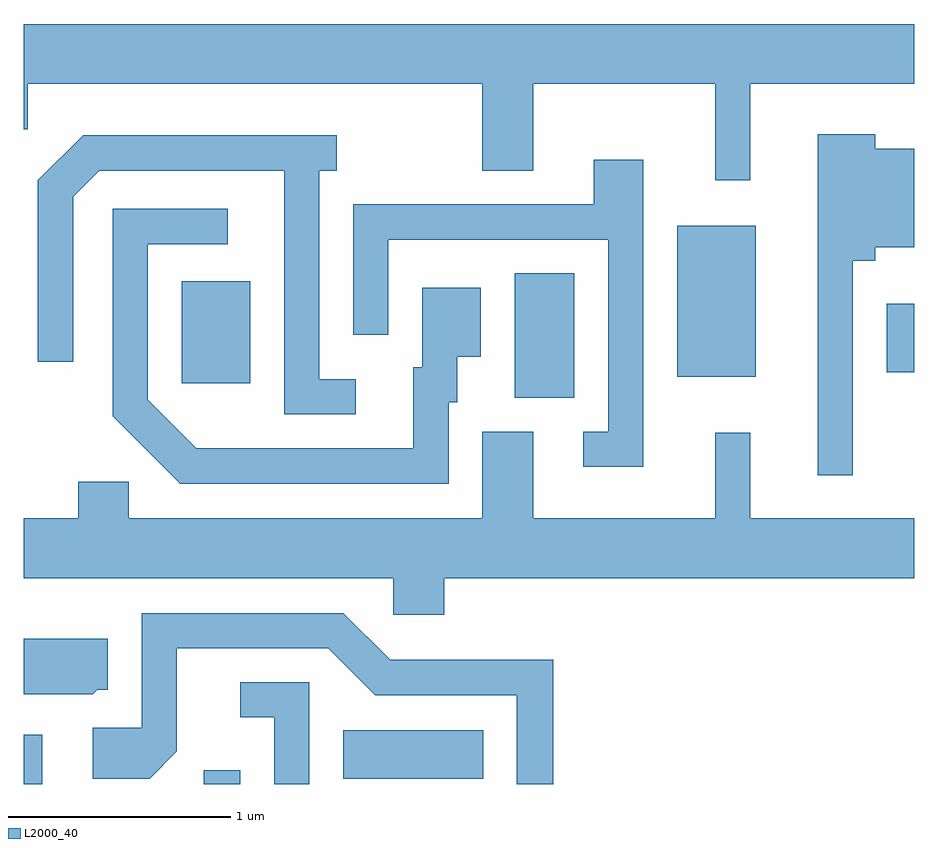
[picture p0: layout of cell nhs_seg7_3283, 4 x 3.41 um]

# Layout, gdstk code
import gdstk
lib = gdstk.Library(unit=1e-6, precision=1e-09)
def R(c, l, rs):  # rectangles x0, y0, x1, y1
    for r in rs: c.add(gdstk.rectangle(r[:2], r[2:], *l))
def P(c, l, *ps):  # polygons
    for p in ps: c.add(gdstk.Polygon(p, *l))
L2000_40 = (2000, 40)

nhs_seg7_3283 = lib.new_cell('nhs_seg7_3283')
R(nhs_seg7_3283, L2000_40, [(285.611,1742.252,285.694,1742.473), (286.421,1742.252,286.584,1742.313), (287.046,1742.276,287.674,1742.494), (287.816,1743.986,288.084,1744.544), (286.321,1744.051,286.629,1744.509), (288.546,1744.081,288.899,1744.759), (289.486,1744.101,289.611,1744.409)])
P(nhs_seg7_3283, L2000_40, [(288.874,1745.396),(289.611,1745.396),(289.611,1745.664),(285.611,1745.664),(285.611,1745.191),(285.629,1745.191),(285.629,1745.396),(287.671,1745.396),(287.671,1745.006),(287.899,1745.006),(287.899,1745.396),(288.716,1745.396),(288.716,1744.963),(288.874,1744.963)],
  [(289.334,1744.601),(289.434,1744.601),(289.434,1744.661),(289.611,1744.661),(289.611,1745.104),(289.434,1745.104),(289.434,1745.169),(289.176,1745.169),(289.176,1743.638),(289.334,1743.638)],
  [(287.103,1744.069),(286.939,1744.069),(286.939,1745.006),(287.018,1745.006),(287.018,1745.164),(285.879,1745.164),(285.676,1744.962),(285.676,1744.148),(285.834,1744.148),(285.834,1744.889),(285.952,1745.006),(286.781,1745.006),(286.781,1743.911),(287.103,1743.911)],
  [(288.394,1745.054),(288.171,1745.054),(288.171,1744.854),(287.091,1744.854),(287.091,1744.268),(287.249,1744.268),(287.249,1744.696),(288.236,1744.696),(288.236,1743.834),(288.123,1743.834),(288.123,1743.676),(288.394,1743.676)],
  [(287.519,1743.966),(287.559,1743.966),(287.559,1744.171),(287.664,1744.171),(287.664,1744.479),(287.401,1744.479),(287.401,1744.124),(287.361,1744.124),(287.361,1743.759),(286.387,1743.759),(286.169,1743.977),(286.169,1744.676),(286.528,1744.676),(286.528,1744.834),(286.011,1744.834),(286.011,1743.904),(286.314,1743.601),(287.519,1743.601)],
  [(287.499,1743.176),(289.611,1743.176),(289.611,1743.444),(288.874,1743.444),(288.874,1743.828),(288.716,1743.828),(288.716,1743.444),(287.899,1743.444),(287.899,1743.834),(287.671,1743.834),(287.671,1743.444),(286.084,1743.444),(286.084,1743.609),(285.856,1743.609),(285.856,1743.444),(285.611,1743.444),(285.611,1743.176),(287.271,1743.176),(287.271,1743.011),(287.499,1743.011)],
  [(287.989,1742.809),(287.257,1742.809),(287.047,1743.019),(286.141,1743.019),(286.141,1742.504),(285.921,1742.504),(285.921,1742.276),(286.177,1742.276),(286.299,1742.399),(286.299,1742.861),(286.979,1742.861),(287.189,1742.651),(287.826,1742.651),(287.826,1742.252),(287.989,1742.252)],
  [(285.942,1742.676),(285.989,1742.676),(285.989,1742.904),(285.611,1742.904),(285.611,1742.656),(285.922,1742.656)],
  [(286.894,1742.709),(286.583,1742.709),(286.583,1742.551),(286.736,1742.551),(286.736,1742.252),(286.894,1742.252)])

lib.write_gds('nhs_seg7_3283.gds')
